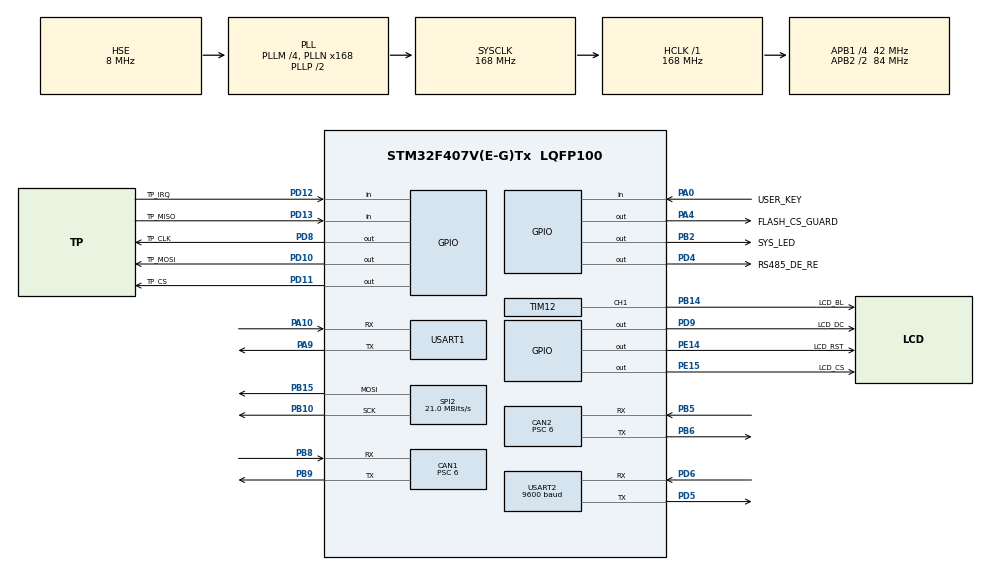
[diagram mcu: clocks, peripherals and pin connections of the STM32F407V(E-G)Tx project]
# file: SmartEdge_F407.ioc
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CAN1.ABOM=ENABLE
CAN1.BS1=CAN_BS1_11TQ
CAN1.BS2=CAN_BS2_2TQ
CAN1.CalculateBaudRate=500000
CAN1.CalculateTimeBit=2000
CAN1.CalculateTimeQuantum=142.85714285714286
CAN1.NART=ENABLE
CAN1.Prescaler=6
CAN2.ABOM=ENABLE
CAN2.BS1=CAN_BS1_11TQ
CAN2.BS2=CAN_BS2_2TQ
CAN2.CalculateBaudRate=500000
CAN2.CalculateTimeBit=2000
CAN2.CalculateTimeQuantum=142.85714285714286
CAN2.NART=ENABLE
CAN2.Prescaler=6
Dma.Request0=USART1_RX
Dma.Request1=USART1_TX
Dma.Request2=SPI2_TX
Dma.Request3=USART2_RX
Dma.Request4=USART2_TX
Dma.SPI2_TX.2.Direction=DMA_MEMORY_TO_PERIPH
Dma.SPI2_TX.2.FIFOMode=DMA_FIFOMODE_DISABLE
Dma.SPI2_TX.2.Instance=DMA1_Stream4
Dma.SPI2_TX.2.MemDataAlignment=DMA_MDATAALIGN_BYTE
Dma.SPI2_TX.2.MemInc=DMA_MINC_ENABLE
Dma.SPI2_TX.2.Mode=DMA_NORMAL
Dma.SPI2_TX.2.PeriphDataAlignment=DMA_PDATAALIGN_BYTE
Dma.SPI2_TX.2.PeriphInc=DMA_PINC_DISABLE
Dma.SPI2_TX.2.Priority=DMA_PRIORITY_MEDIUM
Dma.USART1_RX.0.Direction=DMA_PERIPH_TO_MEMORY
Dma.USART1_RX.0.FIFOMode=DMA_FIFOMODE_DISABLE
Dma.USART1_RX.0.Instance=DMA2_Stream2
Dma.USART1_RX.0.MemDataAlignment=DMA_MDATAALIGN_BYTE
Dma.USART1_RX.0.MemInc=DMA_MINC_ENABLE
Dma.USART1_RX.0.Mode=DMA_CIRCULAR
Dma.USART1_RX.0.PeriphDataAlignment=DMA_PDATAALIGN_BYTE
Dma.USART1_RX.0.PeriphInc=DMA_PINC_DISABLE
Dma.USART1_RX.0.Priority=DMA_PRIORITY_LOW
Dma.USART1_TX.1.Direction=DMA_MEMORY_TO_PERIPH
Dma.USART1_TX.1.FIFOMode=DMA_FIFOMODE_DISABLE
Dma.USART1_TX.1.Instance=DMA2_Stream7
Dma.USART1_TX.1.MemDataAlignment=DMA_MDATAALIGN_BYTE
Dma.USART1_TX.1.MemInc=DMA_MINC_ENABLE
Dma.USART1_TX.1.Mode=DMA_NORMAL
Dma.USART1_TX.1.PeriphDataAlignment=DMA_PDATAALIGN_BYTE
Dma.USART1_TX.1.PeriphInc=DMA_PINC_DISABLE
Dma.USART1_TX.1.Priority=DMA_PRIORITY_LOW
Dma.USART2_RX.3.Direction=DMA_PERIPH_TO_MEMORY
Dma.USART2_RX.3.FIFOMode=DMA_FIFOMODE_DISABLE
Dma.USART2_RX.3.Instance=DMA1_Stream5
Dma.USART2_RX.3.MemDataAlignment=DMA_MDATAALIGN_BYTE
Dma.USART2_RX.3.MemInc=DMA_MINC_ENABLE
Dma.USART2_RX.3.Mode=DMA_NORMAL
Dma.USART2_RX.3.PeriphDataAlignment=DMA_PDATAALIGN_BYTE
Dma.USART2_RX.3.PeriphInc=DMA_PINC_DISABLE
Dma.USART2_RX.3.Priority=DMA_PRIORITY_MEDIUM
Dma.USART2_TX.4.Direction=DMA_MEMORY_TO_PERIPH
Dma.USART2_TX.4.FIFOMode=DMA_FIFOMODE_DISABLE
Dma.USART2_TX.4.Instance=DMA1_Stream6
Dma.USART2_TX.4.MemDataAlignment=DMA_MDATAALIGN_BYTE
Dma.USART2_TX.4.MemInc=DMA_MINC_ENABLE
Dma.USART2_TX.4.Mode=DMA_NORMAL
Dma.USART2_TX.4.PeriphDataAlignment=DMA_PDATAALIGN_BYTE
Dma.USART2_TX.4.PeriphInc=DMA_PINC_DISABLE
Dma.USART2_TX.4.Priority=DMA_PRIORITY_MEDIUM
FREERTOS.BinarySemaphores01=lcdDmaSem,Dynamic,NULL,Depleted
FREERTOS.Mutexes01=sysMutex,Dynamic,NULL,Available
FREERTOS.Queues01=can1RxQueue,16,CanFrame_t,0,Dynamic,NULL,NULL;can2RxQueue,8,CanFrame_t,0,Dynamic,NULL,NULL
FREERTOS.Tasks01=defaultTask,40,384,StartDefaultTask,Default,NULL,Dynamic,NULL,NULL;CliTask,8,512,StartCliTask,Default,NULL,Dynamic,NULL,NULL;HmiTask,24,1536,StartHmiTask,Default,NULL,Dynamic,NULL,NULL;ControlTask,34,512,StartControlTask,Default,NULL,Dynamic,NULL,NULL;FanSimTask,32,384,StartFanSimTask,Default,NULL,Dynamic,NULL,NULL;SensorTask,26,384,StartSensorTask,Default,NULL,Dynamic,NULL,NULL
FREERTOS.configCHECK_FOR_STACK_OVERFLOW=2
FREERTOS.configTOTAL_HEAP_SIZE=36864
FREERTOS.configUSE_MALLOC_FAILED_HOOK=1
Mcu.Family=STM32F4
Mcu.Name=STM32F407V(E-G)Tx
Mcu.Package=LQFP100
NVIC.CAN1_RX0_IRQn=true\:6\:0\:true\:false\:true\:true\:true\:true\:true
NVIC.CAN2_RX1_IRQn=true\:6\:0\:true\:false\:true\:true\:true\:true\:true
NVIC.DMA1_Stream4_IRQn=true\:8\:0\:true\:false\:true\:true\:false\:true\:true
NVIC.DMA1_Stream5_IRQn=true\:7\:0\:true\:false\:true\:true\:false\:true\:true
NVIC.DMA1_Stream6_IRQn=true\:7\:0\:true\:false\:true\:true\:false\:true\:true
NVIC.DMA2_Stream2_IRQn=true\:10\:0\:true\:false\:true\:true\:false\:true\:true
NVIC.DMA2_Stream7_IRQn=true\:10\:0\:true\:false\:true\:true\:false\:true\:true
NVIC.PriorityGroup=NVIC_PRIORITYGROUP_4
NVIC.TIM6_DAC_IRQn=true\:1\:0\:true\:false\:true\:false\:false\:true\:true
NVIC.TimeBase=TIM6_DAC_IRQn
NVIC.TimeBaseIP=TIM6
NVIC.USART1_IRQn=true\:10\:0\:true\:false\:true\:true\:false\:true\:true
NVIC.USART2_IRQn=true\:7\:0\:true\:false\:true\:true\:true\:true\:true
PA0-WKUP.GPIO_Label=USER_KEY
PA0-WKUP.Signal=GPIO_Input
PA10.GPIO_PuPd=GPIO_PULLUP
PA10.Mode=Asynchronous
PA10.Signal=USART1_RX
PA13.Mode=Serial_Wire
PA13.Signal=SYS_JTMS-SWDIO
PA14.Mode=Serial_Wire
PA14.Signal=SYS_JTCK-SWCLK
PA4.GPIO_Label=FLASH_CS_GUARD
PA4.GPIO_PuPd=GPIO_NOPULL
PA4.PinState=GPIO_PIN_SET
PA4.Signal=GPIO_Output
PA9.Mode=Asynchronous
PA9.Signal=USART1_TX
PB10.Mode=TX_Only_Simplex_Unidirect_Master
PB10.Signal=SPI2_SCK
PB14.GPIO_Label=LCD_BL
PB14.Signal=S_TIM12_CH1
PB15.Mode=TX_Only_Simplex_Unidirect_Master
PB15.Signal=SPI2_MOSI
PB2.GPIO_Label=SYS_LED
PB2.Signal=GPIO_Output
PB5.GPIO_PuPd=GPIO_PULLUP
PB5.Mode=CAN_Activate
PB5.Signal=CAN2_RX
PB6.GPIO_PuPd=GPIO_NOPULL
PB6.Mode=CAN_Activate
PB6.Signal=CAN2_TX
PB8.GPIO_PuPd=GPIO_PULLUP
PB8.Mode=CAN_Activate
PB8.Signal=CAN1_RX
PB9.GPIO_Speed=GPIO_SPEED_FREQ_VERY_HIGH
PB9.Mode=CAN_Activate
PB9.Signal=CAN1_TX
PC14-OSC32_IN.Mode=LSE-External-Oscillator
PC14-OSC32_IN.Signal=RCC_OSC32_IN
PC15-OSC32_OUT.Mode=LSE-External-Oscillator
PC15-OSC32_OUT.Signal=RCC_OSC32_OUT
PD10.GPIO_Label=TP_MOSI
PD10.GPIO_Speed=GPIO_SPEED_FREQ_MEDIUM
PD10.Signal=GPIO_Output
PD11.GPIO_Label=TP_CS
PD11.GPIO_Speed=GPIO_SPEED_FREQ_MEDIUM
PD11.PinState=GPIO_PIN_SET
PD11.Signal=GPIO_Output
PD12.GPIO_Label=TP_IRQ
PD12.GPIO_PuPd=GPIO_PULLUP
PD12.Signal=GPIO_Input
PD13.GPIO_Label=TP_MISO
PD13.GPIO_PuPd=GPIO_PULLUP
PD13.Signal=GPIO_Input
PD4.GPIO_Label=RS485_DE_RE
PD4.GPIO_Speed=GPIO_SPEED_FREQ_MEDIUM
PD4.Signal=GPIO_Output
PD5.GPIO_PuPd=GPIO_NOPULL
PD5.GPIO_Speed=GPIO_SPEED_FREQ_VERY_HIGH
PD5.Mode=Asynchronous
PD5.Signal=USART2_TX
PD6.GPIO_PuPd=GPIO_PULLUP
PD6.Mode=Asynchronous
PD6.Signal=USART2_RX
PD8.GPIO_Label=TP_CLK
PD8.GPIO_Speed=GPIO_SPEED_FREQ_MEDIUM
PD8.Signal=GPIO_Output
PD9.GPIO_Label=LCD_DC
PD9.GPIO_Speed=GPIO_SPEED_FREQ_HIGH
PD9.Signal=GPIO_Output
PE14.GPIO_Label=LCD_RST
PE14.PinState=GPIO_PIN_SET
PE14.Signal=GPIO_Output
PE15.GPIO_Label=LCD_CS
PE15.GPIO_Speed=GPIO_SPEED_FREQ_HIGH
PE15.PinState=GPIO_PIN_SET
PE15.Signal=GPIO_Output
PH0-OSC_IN.Mode=HSE-External-Oscillator
PH0-OSC_IN.Signal=RCC_OSC_IN
PH1-OSC_OUT.Mode=HSE-External-Oscillator
PH1-OSC_OUT.Signal=RCC_OSC_OUT
ProjectManager.HeapSize=0x200
ProjectManager.StackSize=0x400
ProjectManager.TargetToolchain=CMake
RCC.48MHZClocksFreq_Value=48000000
RCC.AHBFreq_Value=168000000
RCC.APB1CLKDivider=RCC_HCLK_DIV4
RCC.APB1Freq_Value=42000000
RCC.APB1TimFreq_Value=84000000
RCC.APB2CLKDivider=RCC_HCLK_DIV2
RCC.APB2Freq_Value=84000000
RCC.APB2TimFreq_Value=168000000
RCC.CortexFreq_Value=168000000
RCC.HCLKFreq_Value=168000000
RCC.HSE_VALUE=8000000
RCC.HSI_VALUE=16000000
RCC.PLLM=4
RCC.PLLN=168
RCC.PLLQ=7
RCC.PLLSourceVirtual=RCC_PLLSOURCE_HSE
RCC.RCC_RTC_Clock_Source=RCC_RTCCLKSOURCE_LSE
RCC.RCC_RTC_Clock_SourceVirtual=RCC_RTCCLKSOURCE_LSE
RCC.SYSCLKFreq_VALUE=168000000
RCC.SYSCLKSource=RCC_SYSCLKSOURCE_PLLCLK
RCC.VCOOutputFreq_Value=336000000
RTC.Format=RTC_FORMAT_BIN
SH.S_TIM12_CH1.0=TIM12_CH1,PWM Generation1 CH1
SPI2.CalculateBaudRate=21.0 MBits/s
SPI2.Direction=SPI_DIRECTION_2LINES
SPI2.Mode=SPI_MODE_MASTER
SPI2.VirtualType=VM_MASTER
TIM12.AutoReloadPreload=TIM_AUTORELOAD_PRELOAD_ENABLE
TIM12.Channel-PWM\ Generation1\ CH1=TIM_CHANNEL_1
TIM12.Period=999
TIM12.Prescaler=41
USART1.VirtualMode=VM_ASYNC
USART2.BaudRate=9600
USART2.VirtualMode=VM_ASYNC
VP_FREERTOS_VS_CMSIS_V2.Mode=CMSIS_V2
VP_RTC_VS_RTC_Activate.Mode=RTC_Enabled
VP_RTC_VS_RTC_Calendar.Mode=RTC_Calendar
VP_SYS_VS_tim6.Mode=TIM6
board=custom

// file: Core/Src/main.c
/* USER CODE BEGIN Header */
/**
  ******************************************************************************
  * @file           : main.c
  * @brief          : Main program body
  ******************************************************************************
  * @attention
  *
  * Copyright (c) 2026 STMicroelectronics.
  * All rights reserved.
  *
  * This software is licensed under terms that can be found in the LICENSE file
  * in the root directory of this software component.
  * If no LICENSE file comes with this software, it is provided AS-IS.
  *
  ******************************************************************************
  */
/* USER CODE END Header */
#include "main.h"
#include "cmsis_os.h"
#include "can.h"
#include "dma.h"
#include "rtc.h"
#include "spi.h"
#include "tim.h"
#include "usart.h"
#include "gpio.h"

/* USER CODE BEGIN Includes */
#include "bsp_sys.h"
#include "app_cfg.h"
#include "app_data.h"
/* USER CODE END Includes */

void SystemClock_Config(void);
void MX_FREERTOS_Init(void);

int main(void)
{

  /* MCU Configuration--------------------------------------------------------*/

  /* Reset of all peripherals, Initializes the Flash interface and the Systick. */
  HAL_Init();

  /* USER CODE BEGIN Init */
  /* 尽早捕获并清除 RCC->CSR 复位原因、解锁备份域并拉高 PA4 隔离选贴 Flash */
  Bsp_SysEarlyInit();
  /* USER CODE END Init */

  /* Configure the system clock */
  SystemClock_Config();

  /* Initialize all configured peripherals */
  MX_GPIO_Init();
  MX_DMA_Init();
  MX_RTC_Init();
  MX_USART1_UART_Init();
  MX_SPI2_Init();
  MX_TIM12_Init();
  MX_USART2_UART_Init();
  MX_CAN1_Init();
  MX_CAN2_Init();
  /* USER CODE BEGIN 2 */
  /* 尝试从 Flash Sector 11 加载掉电配置（失败回退安全默认），再初始化全局状态中心 */
  {
    AppConfig_t boot_cfg;
    (void)AppCfg_Init();
    AppCfg_GetCurrent(&boot_cfg);
    AppData_Init(&boot_cfg, Bsp_SysGetResetReason(), Bsp_SysGetHungTaskMask());
  }
  /* USER CODE END 2 */

  /* Init scheduler */
  osKernelInitialize();  /* Call init function for freertos objects (in cmsis_os2.c) */
  MX_FREERTOS_Init();

  /* Start scheduler */
  osKernelStart();

  /* We should never get here as control is now taken by the scheduler */

  /* Infinite loop */
  while (1)
  {

  }
}

void SystemClock_Config(void)
{
  RCC_OscInitTypeDef RCC_OscInitStruct = {0};
  RCC_ClkInitTypeDef RCC_ClkInitStruct = {0};

  /** Configure the main internal regulator output voltage
  */
  __HAL_RCC_PWR_CLK_ENABLE();
  __HAL_PWR_VOLTAGESCALING_CONFIG(PWR_REGULATOR_VOLTAGE_SCALE1);

  /** Initializes the RCC Oscillators according to the specified parameters
  * in the RCC_OscInitTypeDef structure.
  */
  RCC_OscInitStruct.OscillatorType = RCC_OSCILLATORTYPE_HSE|RCC_OSCILLATORTYPE_LSE;
  RCC_OscInitStruct.HSEState = RCC_HSE_ON;
  RCC_OscInitStruct.LSEState = RCC_LSE_ON;
  RCC_OscInitStruct.PLL.PLLState = RCC_PLL_ON;
  RCC_OscInitStruct.PLL.PLLSource = RCC_PLLSOURCE_HSE;
  RCC_OscInitStruct.PLL.PLLM = 4;
  RCC_OscInitStruct.PLL.PLLN = 168;
  RCC_OscInitStruct.PLL.PLLP = RCC_PLLP_DIV2;
  RCC_OscInitStruct.PLL.PLLQ = 7;
  if (HAL_RCC_OscConfig(&RCC_OscInitStruct) != HAL_OK)
  {
    Error_Handler();
  }

  /** Initializes the CPU, AHB and APB buses clocks
  */
  RCC_ClkInitStruct.ClockType = RCC_CLOCKTYPE_HCLK|RCC_CLOCKTYPE_SYSCLK
                              |RCC_CLOCKTYPE_PCLK1|RCC_CLOCKTYPE_PCLK2;
  RCC_ClkInitStruct.SYSCLKSource = RCC_SYSCLKSOURCE_PLLCLK;
  RCC_ClkInitStruct.AHBCLKDivider = RCC_SYSCLK_DIV1;
  RCC_ClkInitStruct.APB1CLKDivider = RCC_HCLK_DIV4;
  RCC_ClkInitStruct.APB2CLKDivider = RCC_HCLK_DIV2;

  if (HAL_RCC_ClockConfig(&RCC_ClkInitStruct, FLASH_LATENCY_5) != HAL_OK)
  {
    Error_Handler();
  }
}

void HAL_TIM_PeriodElapsedCallback(TIM_HandleTypeDef *htim)
{
  if (htim->Instance == TIM6)
  {
    HAL_IncTick();
  }
}

void Error_Handler(void)
{
  __disable_irq();
  while (1)
  {
  }
}

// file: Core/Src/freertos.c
/* USER CODE BEGIN Header */
/**
  ******************************************************************************
  * File Name          : freertos.c
  * Description        : Code for freertos applications
  ******************************************************************************
  * @attention
  *
  * Copyright (c) 2026 STMicroelectronics.
  * All rights reserved.
  *
  * This software is licensed under terms that can be found in the LICENSE file
  * in the root directory of this software component.
  * If no LICENSE file comes with this software, it is provided AS-IS.
  *
  ******************************************************************************
  */
/* USER CODE END Header */

#include "FreeRTOS.h"
#include "task.h"
#include "main.h"
#include "cmsis_os.h"

/* USER CODE BEGIN Includes */
#include "app_monitor.h"
#include "app_cli.h"
#include "app_hmi.h"
#include "app_control.h"
#include "app_fansim.h"
#include "app_sensor.h"
#include "bsp_can.h"
#include "bsp_uart_cli.h"
/* USER CODE END Includes */

/* Definitions for defaultTask */
osThreadId_t defaultTaskHandle;
const osThreadAttr_t defaultTask_attributes = {
  .name = "defaultTask",
  .stack_size = 384 * 4,
  .priority = (osPriority_t) osPriorityHigh,
};
/* Definitions for CliTask */
osThreadId_t CliTaskHandle;
const osThreadAttr_t CliTask_attributes = {
  .name = "CliTask",
  .stack_size = 512 * 4,
  .priority = (osPriority_t) osPriorityLow,
};
/* Definitions for HmiTask */
osThreadId_t HmiTaskHandle;
const osThreadAttr_t HmiTask_attributes = {
  .name = "HmiTask",
  .stack_size = 1536 * 4,
  .priority = (osPriority_t) osPriorityNormal,
};
/* Definitions for ControlTask */
osThreadId_t ControlTaskHandle;
const osThreadAttr_t ControlTask_attributes = {
  .name = "ControlTask",
  .stack_size = 512 * 4,
  .priority = (osPriority_t) osPriorityAboveNormal2,
};
/* Definitions for FanSimTask */
osThreadId_t FanSimTaskHandle;
const osThreadAttr_t FanSimTask_attributes = {
  .name = "FanSimTask",
  .stack_size = 384 * 4,
  .priority = (osPriority_t) osPriorityAboveNormal,
};
/* Definitions for SensorTask */
osThreadId_t SensorTaskHandle;
const osThreadAttr_t SensorTask_attributes = {
  .name = "SensorTask",
  .stack_size = 384 * 4,
  .priority = (osPriority_t) osPriorityNormal2,
};
/* Definitions for can1RxQueue */
osMessageQueueId_t can1RxQueueHandle;
const osMessageQueueAttr_t can1RxQueue_attributes = {
  .name = "can1RxQueue"
};
/* Definitions for can2RxQueue */
osMessageQueueId_t can2RxQueueHandle;
const osMessageQueueAttr_t can2RxQueue_attributes = {
  .name = "can2RxQueue"
};
/* Definitions for sysMutex */
osMutexId_t sysMutexHandle;
const osMutexAttr_t sysMutex_attributes = {
  .name = "sysMutex"
};
/* Definitions for lcdDmaSem */
osSemaphoreId_t lcdDmaSemHandle;
const osSemaphoreAttr_t lcdDmaSem_attributes = {
  .name = "lcdDmaSem"
};

void StartDefaultTask(void *argument);
void StartCliTask(void *argument);
void StartHmiTask(void *argument);
void StartControlTask(void *argument);
void StartFanSimTask(void *argument);
void StartSensorTask(void *argument);

void MX_FREERTOS_Init(void); /* (MISRA C 2004 rule 8.1) */

/* Hook prototypes */
void vApplicationStackOverflowHook(xTaskHandle xTask, signed char *pcTaskName);
void vApplicationMallocFailedHook(void);

/* USER CODE BEGIN 4 */
void vApplicationStackOverflowHook(xTaskHandle xTask, signed char *pcTaskName)
{
   /* 任务栈溢出钩子：立即阻塞打印溢出任务名并停机，防止静默踩坏内存 */
   (void)xTask;
   Bsp_CliEmergencyPuts("\r\n[FATAL] FreeRTOS Stack Overflow in task: ");
   Bsp_CliEmergencyPuts((const char *)pcTaskName);
   Bsp_CliEmergencyPuts("\r\n");
   __disable_irq();
   for (;;)
   {
   }
}
/* USER CODE END 4 */

/* USER CODE BEGIN 5 */
void vApplicationMallocFailedHook(void)
{
   /* FreeRTOS 堆分配失败钩子：立即打印致命错误并停机定位 */
   Bsp_CliEmergencyPuts("\r\n[FATAL] FreeRTOS pvPortMalloc Failed!\r\n");
   __disable_irq();
   for (;;)
   {
   }
}
/* USER CODE END 5 */

void MX_FREERTOS_Init(void) {
  /* Create the mutex(es) */
  /* creation of sysMutex */
  sysMutexHandle = osMutexNew(&sysMutex_attributes);

  /* Create the semaphores(s) */
  /* creation of lcdDmaSem */
  lcdDmaSemHandle = osSemaphoreNew(1, 0, &lcdDmaSem_attributes);

  /* Create the queue(s) */
  /* creation of can1RxQueue */
  can1RxQueueHandle = osMessageQueueNew (16, sizeof(CanFrame_t), &can1RxQueue_attributes);

  /* creation of can2RxQueue */
  can2RxQueueHandle = osMessageQueueNew (8, sizeof(CanFrame_t), &can2RxQueue_attributes);

  /* Create the thread(s) */
  /* creation of defaultTask */
  defaultTaskHandle = osThreadNew(StartDefaultTask, NULL, &defaultTask_attributes);

  /* creation of CliTask */
  CliTaskHandle = osThreadNew(StartCliTask, NULL, &CliTask_attributes);

  /* creation of HmiTask */
  HmiTaskHandle = osThreadNew(StartHmiTask, NULL, &HmiTask_attributes);

  /* creation of ControlTask */
  ControlTaskHandle = osThreadNew(StartControlTask, NULL, &ControlTask_attributes);

  /* creation of FanSimTask */
  FanSimTaskHandle = osThreadNew(StartFanSimTask, NULL, &FanSimTask_attributes);

  /* creation of SensorTask */
  SensorTaskHandle = osThreadNew(StartSensorTask, NULL, &SensorTask_attributes);

}

void StartDefaultTask(void *argument)
{
  /* USER CODE BEGIN StartDefaultTask */
  (void)argument;
  App_MonitorTask();
  /* USER CODE END StartDefaultTask */
}

void StartCliTask(void *argument)
{
  /* USER CODE BEGIN StartCliTask */
  (void)argument;
  App_CliTask();
  /* USER CODE END StartCliTask */
}

void StartHmiTask(void *argument)
{
  /* USER CODE BEGIN StartHmiTask */
  (void)argument;
  App_HmiTask();
  /* USER CODE END StartHmiTask */
}

void StartControlTask(void *argument)
{
  /* USER CODE BEGIN StartControlTask */
  (void)argument;
  App_ControlTask();
  /* USER CODE END StartControlTask */
}

void StartFanSimTask(void *argument)
{
  /* USER CODE BEGIN StartFanSimTask */
  (void)argument;
  App_FanSimTask();
  /* USER CODE END StartFanSimTask */
}

void StartSensorTask(void *argument)
{
  /* USER CODE BEGIN StartSensorTask */
  (void)argument;
  App_SensorTask();
  /* USER CODE END StartSensorTask */
}
